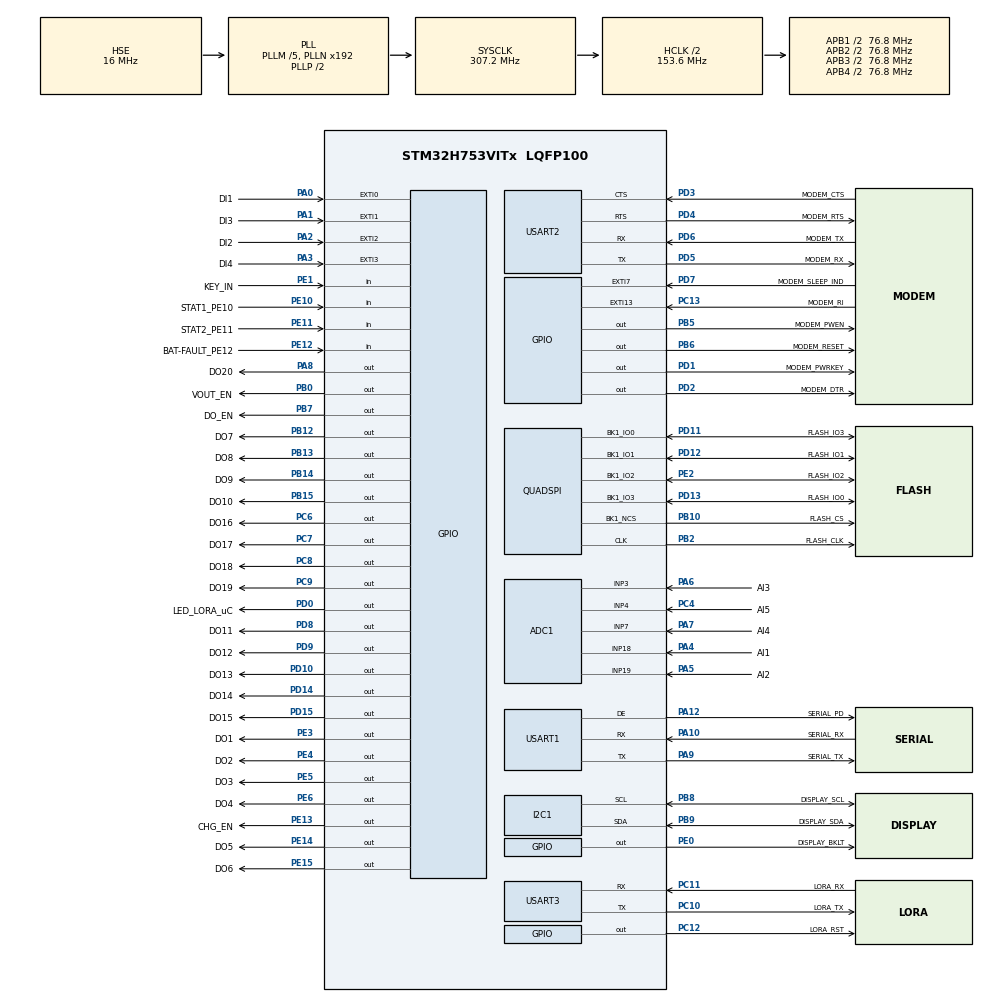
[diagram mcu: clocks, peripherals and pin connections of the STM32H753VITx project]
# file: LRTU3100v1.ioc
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ADC1.Channel-10\#ChannelRegularConversion=ADC_CHANNEL_19
ADC1.Channel-6\#ChannelRegularConversion=ADC_CHANNEL_3
ADC1.Channel-7\#ChannelRegularConversion=ADC_CHANNEL_4
ADC1.Channel-8\#ChannelRegularConversion=ADC_CHANNEL_7
ADC1.Channel-9\#ChannelRegularConversion=ADC_CHANNEL_18
ADC1.DiscontinuousConvMode=ENABLE
ADC1.NbrOfConversion=5
ADC1.NbrOfConversionFlag=1
ADC1.OffsetNumber-10\#ChannelRegularConversion=ADC_OFFSET_NONE
ADC1.OffsetNumber-6\#ChannelRegularConversion=ADC_OFFSET_NONE
ADC1.OffsetNumber-7\#ChannelRegularConversion=ADC_OFFSET_NONE
ADC1.OffsetNumber-8\#ChannelRegularConversion=ADC_OFFSET_NONE
ADC1.OffsetNumber-9\#ChannelRegularConversion=ADC_OFFSET_NONE
ADC1.OffsetSignedSaturation-10\#ChannelRegularConversion=DISABLE
ADC1.OffsetSignedSaturation-6\#ChannelRegularConversion=DISABLE
ADC1.OffsetSignedSaturation-7\#ChannelRegularConversion=DISABLE
ADC1.OffsetSignedSaturation-8\#ChannelRegularConversion=DISABLE
ADC1.OffsetSignedSaturation-9\#ChannelRegularConversion=DISABLE
ADC1.OversamplingMode=ENABLE
ADC1.Rank-10\#ChannelRegularConversion=5
ADC1.Rank-6\#ChannelRegularConversion=1
ADC1.Rank-7\#ChannelRegularConversion=2
ADC1.Rank-8\#ChannelRegularConversion=3
ADC1.Rank-9\#ChannelRegularConversion=4
ADC1.Ratio=ADC3_OVERSAMPLING_RATIO_2
ADC1.RightBitShift=ADC_RIGHTBITSHIFT_8
ADC1.SamplingTime-10\#ChannelRegularConversion=ADC_SAMPLETIME_1CYCLE_5
ADC1.SamplingTime-6\#ChannelRegularConversion=ADC_SAMPLETIME_1CYCLE_5
ADC1.SamplingTime-7\#ChannelRegularConversion=ADC_SAMPLETIME_1CYCLE_5
ADC1.SamplingTime-8\#ChannelRegularConversion=ADC_SAMPLETIME_1CYCLE_5
ADC1.SamplingTime-9\#ChannelRegularConversion=ADC_SAMPLETIME_1CYCLE_5
ADC1.master=1
FREERTOS.Tasks01=defaultTask,0,128,StartDefaultTask,Default,NULL,Dynamic,NULL,NULL
FREERTOS.configUSE_NEWLIB_REENTRANT=1
I2C1.Timing=0x109096E2
Mcu.Family=STM32H7
Mcu.Name=STM32H753VITx
Mcu.Package=LQFP100
NVIC.EXTI0_IRQn=true\:5\:0\:false\:false\:true\:true\:true\:true\:true
NVIC.EXTI15_10_IRQn=true\:5\:0\:false\:false\:true\:true\:true\:true\:true
NVIC.EXTI1_IRQn=true\:5\:0\:false\:false\:true\:true\:true\:true\:true
NVIC.EXTI2_IRQn=true\:5\:0\:false\:false\:true\:true\:true\:true\:true
NVIC.EXTI3_IRQn=true\:5\:0\:false\:false\:true\:true\:true\:true\:true
NVIC.EXTI9_5_IRQn=true\:5\:0\:false\:false\:true\:true\:true\:true\:true
NVIC.PriorityGroup=NVIC_PRIORITYGROUP_4
NVIC.TIM17_IRQn=true\:15\:0\:false\:false\:true\:false\:false\:true\:true
NVIC.TimeBase=TIM17_IRQn
NVIC.TimeBaseIP=TIM17
NVIC.USART1_IRQn=true\:5\:0\:false\:false\:true\:true\:true\:true\:true
NVIC.USART2_IRQn=true\:5\:0\:false\:false\:true\:true\:true\:true\:true
NVIC.USART3_IRQn=true\:5\:0\:false\:false\:true\:true\:true\:true\:true
PA0.GPIO_Label=DI1
PA0.Signal=GPXTI0
PA1.GPIO_Label=DI3
PA1.Signal=GPXTI1
PA10.GPIO_Label=SERIAL_RX
PA10.Mode=Asynchronous
PA10.Signal=USART1_RX
PA12.GPIO_Label=SERIAL_PD
PA12.Mode=Hardware Flow Control (RS485)
PA12.Signal=USART1_DE
PA13\ (JTMS/SWDIO).Mode=JTAG_5_pins
PA13\ (JTMS/SWDIO).Signal=DEBUG_JTMS-SWDIO
PA14\ (JTCK/SWCLK).Mode=JTAG_5_pins
PA14\ (JTCK/SWCLK).Signal=DEBUG_JTCK-SWCLK
PA15\ (JTDI).Mode=JTAG_5_pins
PA15\ (JTDI).Signal=DEBUG_JTDI
PA2.GPIO_Label=DI2
PA2.Signal=GPXTI2
PA3.GPIO_Label=DI4
PA3.Signal=GPXTI3
PA4.GPIO_Label=AI1
PA4.Signal=ADCx_INP18
PA5.GPIO_Label=AI2
PA5.Signal=ADCx_INP19
PA6.GPIO_Label=AI3
PA6.Signal=ADCx_INP3
PA7.GPIO_Label=AI4
PA7.Signal=ADCx_INP7
PA8.GPIO_Label=DO20
PA8.Signal=GPIO_Output
PA9.GPIO_Label=SERIAL_TX
PA9.Mode=Asynchronous
PA9.Signal=USART1_TX
PB0.GPIO_Label=VOUT_EN
PB0.PinState=GPIO_PIN_SET
PB0.Signal=GPIO_Output
PB10.GPIO_Label=FLASH_CS
PB10.Mode=Single Bank 1
PB10.Signal=QUADSPI_BK1_NCS
PB12.GPIO_Label=DO7
PB12.Signal=GPIO_Output
PB13.GPIO_Label=DO8
PB13.Signal=GPIO_Output
PB14.GPIO_Label=DO9
PB14.Signal=GPIO_Output
PB15.GPIO_Label=DO10
PB15.Signal=GPIO_Output
PB2.GPIO_Label=FLASH_CLK
PB2.Mode=Single Bank 1
PB2.Signal=QUADSPI_CLK
PB3\ (JTDO/TRACESWO).Mode=JTAG_5_pins
PB3\ (JTDO/TRACESWO).Signal=DEBUG_JTDO-SWO
PB4\ (NJTRST).Mode=JTAG_5_pins
PB4\ (NJTRST).Signal=DEBUG_JTRST
PB5.GPIO_Label=MODEM_PWEN
PB5.Signal=GPIO_Output
PB6.GPIO_Label=MODEM_RESET
PB6.Signal=GPIO_Output
PB7.GPIO_Label=DO_EN
PB7.Signal=GPIO_Output
PB8.GPIO_Label=DISPLAY_SCL
PB8.Mode=I2C
PB8.Signal=I2C1_SCL
PB9.GPIO_Label=DISPLAY_SDA
PB9.Mode=I2C
PB9.Signal=I2C1_SDA
PC10.GPIO_Label=LORA_TX
PC10.Mode=Asynchronous
PC10.Signal=USART3_TX
PC11.GPIO_Label=LORA_RX
PC11.Mode=Asynchronous
PC11.Signal=USART3_RX
PC12.GPIO_Label=LORA_RST
PC12.Signal=GPIO_Output
PC13.GPIO_Label=MODEM_RI
PC13.Signal=GPXTI13
PC14-OSC32_IN\ (OSC32_IN).Mode=LSE-External-Oscillator
PC14-OSC32_IN\ (OSC32_IN).Signal=RCC_OSC32_IN
PC15-OSC32_OUT\ (OSC32_OUT).Mode=LSE-External-Oscillator
PC15-OSC32_OUT\ (OSC32_OUT).Signal=RCC_OSC32_OUT
PC4.GPIO_Label=AI5
PC4.Signal=ADCx_INP4
PC6.GPIO_Label=DO16
PC6.Signal=GPIO_Output
PC7.GPIO_Label=DO17
PC7.Signal=GPIO_Output
PC8.GPIO_Label=DO18
PC8.Signal=GPIO_Output
PC9.GPIO_Label=DO19
PC9.Signal=GPIO_Output
PD0.GPIO_Label=LED_LORA_uC
PD0.Signal=GPIO_Output
PD1.GPIO_Label=MODEM_PWRKEY
PD1.Signal=GPIO_Output
PD10.GPIO_Label=DO13
PD10.Signal=GPIO_Output
PD11.GPIO_Label=FLASH_IO3
PD11.Mode=Single Bank 1
PD11.Signal=QUADSPI_BK1_IO0
PD12.GPIO_Label=FLASH_IO1
PD12.Mode=Single Bank 1
PD12.Signal=QUADSPI_BK1_IO1
PD13.GPIO_Label=FLASH_IO0
PD13.Mode=Single Bank 1
PD13.Signal=QUADSPI_BK1_IO3
PD14.GPIO_Label=DO14
PD14.Signal=GPIO_Output
PD15.GPIO_Label=DO15
PD15.Signal=GPIO_Output
PD2.GPIO_Label=MODEM_DTR
PD2.Signal=GPIO_Output
PD3.GPIO_Label=MODEM_CTS
PD3.Mode=CTS_RTS
PD3.Signal=USART2_CTS
PD4.GPIO_Label=MODEM_RTS
PD4.Mode=CTS_RTS
PD4.Signal=USART2_RTS
PD5.GPIO_Label=MODEM_RX
PD5.Mode=Asynchronous
PD5.Signal=USART2_TX
PD6.GPIO_Label=MODEM_TX
PD6.Mode=Asynchronous
PD6.Signal=USART2_RX
PD7.GPIO_Label=MODEM_SLEEP_IND
PD7.Signal=GPXTI7
PD8.GPIO_Label=DO11
PD8.Signal=GPIO_Output
PD9.GPIO_Label=DO12
PD9.Signal=GPIO_Output
PE0.GPIO_Label=DISPLAY_BKLT
PE0.Signal=GPIO_Output
PE1.GPIO_Label=KEY_IN
PE1.Signal=GPIO_Input
PE10.GPIO_Label=STAT1_PE10
PE10.Signal=GPIO_Input
PE11.GPIO_Label=STAT2_PE11
PE11.Signal=GPIO_Input
PE12.GPIO_Label=BAT-FAULT_PE12
PE12.Signal=GPIO_Input
PE13.GPIO_Label=CHG_EN
PE13.Signal=GPIO_Output
PE14.GPIO_Label=DO5
PE14.Signal=GPIO_Output
PE15.GPIO_Label=DO6
PE15.Signal=GPIO_Output
PE2.GPIO_Label=FLASH_IO2
PE2.Mode=Single Bank 1
PE2.Signal=QUADSPI_BK1_IO2
PE3.GPIO_Label=DO1
PE3.Signal=GPIO_Output
PE4.GPIO_Label=DO2
PE4.Signal=GPIO_Output
PE5.GPIO_Label=DO3
PE5.Signal=GPIO_Output
PE6.GPIO_Label=DO4
PE6.Signal=GPIO_Output
PH0-OSC_IN\ (PH0).Mode=HSE-External-Oscillator
PH0-OSC_IN\ (PH0).Signal=RCC_OSC_IN
PH1-OSC_OUT\ (PH1).Mode=HSE-External-Oscillator
PH1-OSC_OUT\ (PH1).Signal=RCC_OSC_OUT
ProjectManager.HeapSize=0x200
ProjectManager.StackSize=0x400
ProjectManager.TargetToolchain=STM32CubeIDE
RCC.ADCFreq_Value=38000000
RCC.APB1Freq_Value=76800000
RCC.APB2Freq_Value=76800000
RCC.APB3Freq_Value=76800000
RCC.APB4Freq_Value=76800000
RCC.CortexFreq_Value=307200000
RCC.D1PPRE=RCC_APB3_DIV2
RCC.D2PPRE1=RCC_APB1_DIV2
RCC.D2PPRE2=RCC_APB2_DIV2
RCC.D3PPRE=RCC_APB4_DIV2
RCC.DIVM1=5
RCC.DIVM2=2
RCC.DIVN1=192
RCC.DIVN2=19
RCC.DIVP2=4
RCC.HCLKFreq_Value=153600000
RCC.HPRE=RCC_HCLK_DIV2
RCC.HSE_VALUE=16000000
RCC.PLLFRACN=0
RCC.PLLSourceVirtual=RCC_PLLSOURCE_HSE
RCC.RTCClockSelection=RCC_RTCCLKSOURCE_LSE
RCC.SYSCLKFreq_VALUE=307200000
RCC.SYSCLKSource=RCC_SYSCLKSOURCE_PLLCLK
RCC.USBCLockSelection=RCC_USBCLKSOURCE_HSI48
RCC.USBFreq_Value=48000000
RTC.Alarm-Alarm\ A=RTC_ALARM_A
SH.ADCx_INP18.0=ADC1_INP18,IN18-Single-Ended
SH.ADCx_INP19.0=ADC1_INP19,IN19-Single-Ended
SH.ADCx_INP3.0=ADC1_INP3,IN3-Single-Ended
SH.ADCx_INP4.0=ADC1_INP4,IN4-Single-Ended
SH.ADCx_INP7.0=ADC1_INP7,IN7-Single-Ended
USART1.VirtualMode-Asynchronous=VM_ASYNC
USART1.VirtualMode-Hardware\ Flow\ Control\ (RS485)=VM_ASYNC
USART2.VirtualMode-Asynchronous=VM_ASYNC
USART3.VirtualMode-Asynchronous=VM_ASYNC
VP_CRC_VS_CRC.Mode=CRC_Activate
VP_FREERTOS_VS_CMSIS_V1.Mode=CMSIS_V1
VP_RTC_VS_RTC_Activate.Mode=RTC_Enabled
VP_RTC_VS_RTC_Alarm_A_Intern.Mode=Alarm A
VP_RTC_VS_RTC_Calendar.Mode=RTC_Calendar
VP_SYS_VS_tim17.Mode=TIM17
VREF+.Mode=InternalMode
VREF+.Signal=VREFBUF_OUT
VREFBUF.VoltageScaling=SYSCFG_VREFBUF_VOLTAGE_SCALE1
board=custom

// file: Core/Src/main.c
/* USER CODE BEGIN Header */
/**
  ******************************************************************************
  * @file           : main.c
  * @brief          : Main program body
  ******************************************************************************
  * @attention
  *
  * Copyright (c) 2025 STMicroelectronics.
  * All rights reserved.
  *
  * This software is licensed under terms that can be found in the LICENSE file
  * in the root directory of this software component.
  * If no LICENSE file comes with this software, it is provided AS-IS.
  *
  ******************************************************************************
  */
/* USER CODE END Header */
#include "main.h"
#include "cmsis_os.h"

/* USER CODE BEGIN Includes */
/* Includes ------------------------------------------------------------------*/
#include "main.h"
#include "cmsis_os.h"
#include <stdio.h>
#include "Lora_AT_Types.h"
#include <string.h>

/* USER CODE END Includes */

ADC_HandleTypeDef hadc1;

CRC_HandleTypeDef hcrc;

I2C_HandleTypeDef hi2c1;

QSPI_HandleTypeDef hqspi;

RTC_HandleTypeDef hrtc;

UART_HandleTypeDef huart1;
UART_HandleTypeDef huart2;
UART_HandleTypeDef huart3;

osThreadId defaultTaskHandle;
/* USER CODE BEGIN PV */
CRC_HandleTypeDef hcrc;

uint32_t lastToggleTime = 0;
uint8_t  outputState = 0; // 0 = OFF period, 1 = ON period

unsigned char Volatile_1_Non_VOL_0 = 0;
uint8_t Id_Reg_Arry[3] = {0};
uint8_t reg1 = 0,reg2 = 0, reg3 = 0;
HAL_StatusTypeDef SPI_Status;
unsigned char Tx_Buffer = 'A',Tx_Buffer1;
osSemaphoreId sendExternalFlashSemaphore;

//****RTC****//
uint8_t rtctime[20], rtcdate[20];

//****LORA****//
uint8_t Lora_RX_Buff[525];        	//LoRA buffer to fill from Rx interrupt
lwrb_t lora_rx_rb;  				//LoRA Ring buffer instance for RX data
uint8_t lora_rx_rb_data[1000];		//LoRA Ring buffer data array for RX DMA

uint32_t stm32deviceID[3],STM32_CRC32;
uint8_t stm8deviceID[12];
char flag_day_night_reboot;
/* USER CODE END PV */

void SystemClock_Config(void);
static void MPU_Config(void);
static void CPU_CACHE_Enable(void);
static void MX_GPIO_Init(void);
void MX_ADC1_Init(void);
void MX_RTC_Init(void);
void MX_USART1_UART_Init(void);
void MX_USART2_UART_Init(void);
void MX_I2C1_Init(void);
void MX_USART3_UART_Init(void);
static void MX_QUADSPI_Init(void);
static void MX_CRC_Init(void);
void StartDefaultTask(void const * argument);
void GPIO_Unused_Define_Low(void);

/* USER CODE BEGIN PFP */
cJSON_Hooks rtos_mem_fn = { pvPortMalloc, vPortFree };
/* USER CODE END PFP */

/* USER CODE BEGIN 0 */
unsigned int erase_push_counter=0,PushPressTime = 0,Fascia_Pin_status = 2;
/* USER CODE END 0 */

/**
  * @brief  CPU L1-Cache enable.
  * @param  None
  * @retval None
  */
static void CPU_CACHE_Enable(void)
{
  /* Enable I-Cache */
  SCB_EnableICache();

  /* Enable D-Cache */
  SCB_EnableDCache();
}

int main(void)
{

	/* MCU Configuration--------------------------------------------------------*/
	MPU_Config();

	CPU_CACHE_Enable();
	__enable_irq();
	/* Reset of all peripherals, Initializes the Flash interface and the Systick. */
	HAL_Init();

	/* Configure the system clock */
	SystemClock_Config();

	/* Initialize all configured peripherals */
	MX_GPIO_Init();
	GPIO_Unused_Define_Low();

	MX_ADC1_Init();
	MX_RTC_Init();

	MX_USART1_UART_Init();
	MX_USART2_UART_Init();
	MX_USART3_UART_Init();

	MX_I2C1_Init();
	MX_QUADSPI_Init();
	MX_CRC_Init();

	/* USER CODE BEGIN 2 */
	// *********RTC***********//
	// set_time(t1);
	WriteLog(1, "\r\n........................START CODE EXCUTION.........................\r\n",1);
	strcpy((char *)EPROM_General.Rtu_Detail.Hex_Version,DEFAULT_FV_VERSION);
	snprintf((char *)print, sizeof(print),"Hex_Version: %s\r\n",EPROM_General.Rtu_Detail.Hex_Version);
	WriteLog(1, (char*)print, 1);

	if(HAL_RTCEx_BKUPRead(&hrtc, RTC_BKP_DR1) != 0x32F2)
		set_time(t1);
	else
		get_time(t1);

	print_time();
	//**************************//
	HAL_GPIO_WritePin(DISPLAY_BKLT_GPIO_Port,DISPLAY_BKLT_Pin, GPIO_PIN_SET);//lcd

	#ifdef WATCH_DOG_ENABLE //MAU_EXCEPTION
	HAL_IWDG_Refresh(&hiwdg1);
	#endif

	lwrb_init(&EC200U_RX_rb, EC200U_RX_rb_data, sizeof(EC200U_RX_rb_data));
	lwrb_init(&lora_rx_rb, lora_rx_rb_data, sizeof(lora_rx_rb_data));

	cJSON_InitHooks(&rtos_mem_fn);
	MX25L_Init();
	/* USER CODE END 2 */

	/* USER CODE BEGIN RTOS_MUTEX */
	/* add mutexes, ... */
	/* add semaphores, ... */
	stm32deviceID[0]=HAL_GetUIDw0();
	stm32deviceID[1]=HAL_GetUIDw1();
	stm32deviceID[2]=HAL_GetUIDw2();

	stm8deviceID[0] = (stm32deviceID[0]) & 0xff;
	stm8deviceID[1] = (stm32deviceID[0] >> 8) & 0xff;
	stm8deviceID[2] = (stm32deviceID[0] >> 16) & 0xff;
	stm8deviceID[3] = (stm32deviceID[0] >> 24);

	stm8deviceID[4] = stm32deviceID[1] & 0xff;
	stm8deviceID[5] = (stm32deviceID[1] >> 8) & 0xff;
	stm8deviceID[6] = (stm32deviceID[1] >> 16) & 0xff;
	stm8deviceID[7] = (stm32deviceID[1] >> 24);

	stm8deviceID[8] = stm32deviceID[2] & 0xff;
	stm8deviceID[9] = (stm32deviceID[2] >> 8) & 0xff;
	stm8deviceID[10] = (stm32deviceID[3] >> 16) & 0xff;
	stm8deviceID[11] = (stm32deviceID[4] >> 24);

	STM32_CRC32 = HAL_CRC_Calculate(&hcrc, (uint32_t *)stm8deviceID,12);

	/* USER CODE END RTOS_MUTEX */

	/* USER CODE BEGIN RTOS_QUEUES */
	/* add queues, ... */
	ExtFlash_Read_RuntimePara(0);
	ExtFlash_Read_EPROM_General(0);
	ExtFlash_Read_EPROM_AI_Calibration(0);
	ExtFlash_Read_EPROM_Schedule(0);
	ExtFlash_Read_EPROM_Dync(0);
	ExtFlash_Read_EPROM_Modbus_Quary_Detail(0);
	ExtFlash_Read_EPROM_PCBPLC_GENERAL_REG(0);
	ExtFlash_Read_gPlcRecFlash(0);
	ExtFlash_Read_EPROM_Frequent(0);
	MODEM_GPIO_Define();

	for(unsigned char index=0;index<15;index++)
	{
		Dual_DO_Pulse_Stage[index] = 0;
		Dual_DO_actual_PulseWidth[index] = 500;
	}

	syncExtFlashVariableWithPCBPLCVariable();
	ExtFlash_Read_OTA_Data();

	erase_push_counter = 0;
	Fascia_Pin_status = HAL_GPIO_ReadPin(KEY_IN_GPIO_Port, KEY_IN_Pin);
	if(HAL_GPIO_ReadPin(KEY_IN_GPIO_Port, KEY_IN_Pin)==GPIO_PIN_RESET)
	{
		HAL_GPIO_WritePin(DISPLAY_BKLT_GPIO_Port, DISPLAY_BKLT_Pin, RESET);
		HAL_GPIO_WritePin(LED_LORA_uC_GPIO_Port, LED_LORA_uC_Pin, GPIO_PIN_RESET);
		while((HAL_GPIO_ReadPin(KEY_IN_GPIO_Port, KEY_IN_Pin)==GPIO_PIN_RESET)&&(erase_push_counter<500))
		{
			HAL_Delay(10);
			erase_push_counter++;
		}

		if(erase_push_counter >= 500)
		{

			HAL_GPIO_WritePin(DISPLAY_BKLT_GPIO_Port, DISPLAY_BKLT_Pin, SET);
			HAL_GPIO_WritePin(LED_LORA_uC_GPIO_Port, LED_LORA_uC_Pin, GPIO_PIN_SET);
			erase_push_counter = 0 ;
			HAL_Delay(1000);
			if(HAL_GPIO_ReadPin(KEY_IN_GPIO_Port, KEY_IN_Pin)==GPIO_PIN_SET)
			{
				while(erase_push_counter<500)
				{
					if(HAL_GPIO_ReadPin(KEY_IN_GPIO_Port, KEY_IN_Pin)==GPIO_PIN_RESET)
					{

						HAL_GPIO_WritePin(DISPLAY_BKLT_GPIO_Port, DISPLAY_BKLT_Pin, RESET);
						HAL_GPIO_WritePin(LED_LORA_uC_GPIO_Port, LED_LORA_uC_Pin, GPIO_PIN_RESET);					  erase_push_counter = erase_push_counter+20;
						PushPressTime++;
						HAL_Delay(200);

						HAL_GPIO_WritePin(DISPLAY_BKLT_GPIO_Port, DISPLAY_BKLT_Pin, SET);
						HAL_GPIO_WritePin(LED_LORA_uC_GPIO_Port, LED_LORA_uC_Pin, GPIO_PIN_SET);
					}
					erase_push_counter++;
					HAL_Delay(10);
				}
				if(PushPressTime == 2)
				{
					PushPressTime = 0;
					HAL_GPIO_WritePin(DISPLAY_BKLT_GPIO_Port, DISPLAY_BKLT_Pin, RESET);
					HAL_GPIO_WritePin(LED_LORA_uC_GPIO_Port, LED_LORA_uC_Pin, GPIO_PIN_RESET);
					HAL_Delay(500);
					ExtFlash_Read_RuntimePara(1);

					HAL_GPIO_WritePin(DISPLAY_BKLT_GPIO_Port, DISPLAY_BKLT_Pin, SET);
					HAL_GPIO_WritePin(LED_LORA_uC_GPIO_Port, LED_LORA_uC_Pin, GPIO_PIN_SET);
					HAL_Delay(500);
					ExtFlash_Read_EPROM_General(1);
					ExtFlash_Read_EPROM_AI_Calibration(1);

					HAL_GPIO_WritePin(DISPLAY_BKLT_GPIO_Port, DISPLAY_BKLT_Pin, RESET);
					HAL_GPIO_WritePin(LED_LORA_uC_GPIO_Port, LED_LORA_uC_Pin, GPIO_PIN_RESET);
					HAL_Delay(500);
					ExtFlash_Read_EPROM_Schedule(1);

					HAL_GPIO_WritePin(DISPLAY_BKLT_GPIO_Port, DISPLAY_BKLT_Pin, SET);
					HAL_GPIO_WritePin(LED_LORA_uC_GPIO_Port, LED_LORA_uC_Pin, GPIO_PIN_SET);
					HAL_Delay(500);
					ExtFlash_Read_EPROM_Modbus_Quary_Detail(1);

					HAL_GPIO_WritePin(DISPLAY_BKLT_GPIO_Port, DISPLAY_BKLT_Pin, RESET);
					HAL_GPIO_WritePin(LED_LORA_uC_GPIO_Port, LED_LORA_uC_Pin, GPIO_PIN_RESET);
					HAL_Delay(500);
					ExtFlash_Read_EPROM_PCBPLC_GENERAL_REG(1);
					ExtFlash_Read_EPROM_Frequent(1);
					HAL_GPIO_WritePin(DISPLAY_BKLT_GPIO_Port, DISPLAY_BKLT_Pin, SET);
					HAL_GPIO_WritePin(LED_LORA_uC_GPIO_Port, LED_LORA_uC_Pin, GPIO_PIN_SET);
					HAL_Delay(500);
					ExtFlash_Read_gPlcRecFlash(1);

					HAL_GPIO_WritePin(DISPLAY_BKLT_GPIO_Port, DISPLAY_BKLT_Pin, RESET);
					HAL_GPIO_WritePin(LED_LORA_uC_GPIO_Port, LED_LORA_uC_Pin, GPIO_PIN_RESET);
					HAL_Delay(500);
					MX25L_EraseSector_QPI(EPROM_REC_MODIFIED_START_ADDRESS);

					HAL_GPIO_WritePin(DISPLAY_BKLT_GPIO_Port, DISPLAY_BKLT_Pin, SET);
					HAL_GPIO_WritePin(LED_LORA_uC_GPIO_Port, LED_LORA_uC_Pin, GPIO_PIN_SET);
					HAL_Delay(500);
					HAL_GPIO_WritePin(DISPLAY_BKLT_GPIO_Port, DISPLAY_BKLT_Pin, RESET);
					HAL_GPIO_WritePin(LED_LORA_uC_GPIO_Port, LED_LORA_uC_Pin, GPIO_PIN_RESET);
					syncExtFlashVariableWithPCBPLCVariable();
				}
			}
		}
		HAL_GPIO_WritePin(DISPLAY_BKLT_GPIO_Port, DISPLAY_BKLT_Pin, RESET);
		HAL_GPIO_WritePin(LED_LORA_uC_GPIO_Port, LED_LORA_uC_Pin, GPIO_PIN_RESET);
	}

	checkProductionMode();

	if(Pro_Application_flag)
	{
	  EPROM_General.pro_CheckByte = 0xAA;
	  ExtFlash_update_EPROM_General();
	  EPROM_General.pro_CheckByte = 0;
	  ExtFlash_Read_EPROM_General(0);
	  if(EPROM_General.pro_CheckByte == 0xAA)
	  {
		  pro_Flash_State = 1;
	  }
	  else
	  {
		  pro_Flash_State = 0;
	  }

	  ExtFlash_update_EPROM_Dync();
	}

	lcd_initialize();
	HAL_Delay(10);
	lcd_set_cursor(1,0);
	lcd_display_string("CIMCON SOFTWARE ");
	lcd_set_cursor(2,0);
	lcd_display_string("    LRTU3100    ");

	BuildModbusMasterQueryTelegrams();

	WriteLog(1, (char *)print, 1);
	//****** Get Astro Time ******//
	Get_Astro_time();

	// Initialize state
	HAL_GPIO_WritePin(VOUT_EN_GPIO_Port, VOUT_EN_Pin, GPIO_PIN_RESET);
	lastToggleTime = HAL_GetTick(); // record start time
  /* USER CODE END RTOS_QUEUES */

  /* Create the thread(s) */
  /* definition and creation of defaultTask */
  osThreadDef(defaultTask, StartDefaultTask, osPriorityNormal, 0, 512*10);
  defaultTaskHandle = osThreadCreate(osThread(defaultTask), NULL);

  /* USER CODE BEGIN RTOS_THREADS */
  /* add threads, ... */
  EC200U_start();
  RxRingProcess_start();
  Modem_MQTT_start();
  Lora_start();
  DIDO_start();
  COM_PORT_RS232_1_start();
  /* USER CODE END RTOS_THREADS */

  /* Start scheduler */
  osKernelStart();

  /* We should never get here as control is now taken by the scheduler */

  /* Infinite loop */
  while (1)
  {

  }
}

/* MPU Configuration */
void MPU_Config(void)
{
  MPU_Region_InitTypeDef MPU_InitStruct = {0};

  /* Disables the MPU */
  HAL_MPU_Disable();

  /** Initializes and configures the Region and the memory to be protected
  */
  MPU_InitStruct.Enable = MPU_REGION_ENABLE;
  MPU_InitStruct.Number = MPU_REGION_NUMBER0;
  MPU_InitStruct.BaseAddress = 0x0;
  MPU_InitStruct.Size = MPU_REGION_SIZE_4GB;
  MPU_InitStruct.SubRegionDisable = 0x87;
  MPU_InitStruct.TypeExtField = MPU_TEX_LEVEL0;
  MPU_InitStruct.AccessPermission = MPU_REGION_NO_ACCESS;
  MPU_InitStruct.DisableExec = MPU_INSTRUCTION_ACCESS_DISABLE;
  MPU_InitStruct.IsShareable = MPU_ACCESS_SHAREABLE;
  MPU_InitStruct.IsCacheable = MPU_ACCESS_NOT_CACHEABLE;
  MPU_InitStruct.IsBufferable = MPU_ACCESS_NOT_BUFFERABLE;

  HAL_MPU_ConfigRegion(&MPU_InitStruct);

  /** Initializes and configures the Region and the memory to be protected
  */
  MPU_InitStruct.Number = MPU_REGION_NUMBER1;
  MPU_InitStruct.BaseAddress = 0x30020000;
  MPU_InitStruct.Size = MPU_REGION_SIZE_128KB;
  MPU_InitStruct.SubRegionDisable = 0x0;
  MPU_InitStruct.TypeExtField = MPU_TEX_LEVEL1;
  MPU_InitStruct.AccessPermission = MPU_REGION_FULL_ACCESS;
  MPU_InitStruct.IsShareable = MPU_ACCESS_NOT_SHAREABLE;

  HAL_MPU_ConfigRegion(&MPU_InitStruct);
  MPU_InitStruct.Number = MPU_REGION_NUMBER2;
  MPU_InitStruct.BaseAddress = 0x30040000;
  MPU_InitStruct.Size = MPU_REGION_SIZE_1KB;//MPU_REGION_SIZE_512B;
  MPU_InitStruct.TypeExtField = MPU_TEX_LEVEL0;
  MPU_InitStruct.IsShareable = MPU_ACCESS_SHAREABLE;
  MPU_InitStruct.IsBufferable = MPU_ACCESS_BUFFERABLE;

  HAL_MPU_ConfigRegion(&MPU_InitStruct);
  /* Enables the MPU */
  HAL_MPU_Enable(MPU_PRIVILEGED_DEFAULT);
}

void SystemClock_Config(void)
{
  RCC_OscInitTypeDef RCC_OscInitStruct = {0};
  RCC_ClkInitTypeDef RCC_ClkInitStruct = {0};

  /** Supply configuration update enable
  */
  HAL_PWREx_ConfigSupply(PWR_LDO_SUPPLY);

  /** Configure the main internal regulator output voltage
  */
  __HAL_PWR_VOLTAGESCALING_CONFIG(PWR_REGULATOR_VOLTAGE_SCALE1);

  while(!__HAL_PWR_GET_FLAG(PWR_FLAG_VOSRDY)) {}

  /** Configure LSE Drive Capability
  */
  HAL_PWR_EnableBkUpAccess();
  __HAL_RCC_LSEDRIVE_CONFIG(RCC_LSEDRIVE_LOW);

  /** Initializes the RCC Oscillators according to the specified parameters
  * in the RCC_OscInitTypeDef structure.
  */
  RCC_OscInitStruct.OscillatorType = RCC_OSCILLATORTYPE_HSE|RCC_OSCILLATORTYPE_LSE;
  RCC_OscInitStruct.HSEState = RCC_HSE_ON;
  RCC_OscInitStruct.LSEState = RCC_LSE_ON;
  RCC_OscInitStruct.PLL.PLLState = RCC_PLL_ON;
  RCC_OscInitStruct.PLL.PLLSource = RCC_PLLSOURCE_HSE;
  RCC_OscInitStruct.PLL.PLLM = 5;
  RCC_OscInitStruct.PLL.PLLN = 192;
  RCC_OscInitStruct.PLL.PLLP = 2;
  RCC_OscInitStruct.PLL.PLLQ = 2;
  RCC_OscInitStruct.PLL.PLLR = 2;
  RCC_OscInitStruct.PLL.PLLRGE = RCC_PLL1VCIRANGE_1;
  RCC_OscInitStruct.PLL.PLLVCOSEL = RCC_PLL1VCOWIDE;
  RCC_OscInitStruct.PLL.PLLFRACN = 0;
  if (HAL_RCC_OscConfig(&RCC_OscInitStruct) != HAL_OK)
  {
    Error_Handler();
  }

  /** Initializes the CPU, AHB and APB buses clocks
  */
  RCC_ClkInitStruct.ClockType = RCC_CLOCKTYPE_HCLK|RCC_CLOCKTYPE_SYSCLK
                              |RCC_CLOCKTYPE_PCLK1|RCC_CLOCKTYPE_PCLK2
                              |RCC_CLOCKTYPE_D3PCLK1|RCC_CLOCKTYPE_D1PCLK1;
  RCC_ClkInitStruct.SYSCLKSource = RCC_SYSCLKSOURCE_PLLCLK;
  RCC_ClkInitStruct.SYSCLKDivider = RCC_SYSCLK_DIV1;
  RCC_ClkInitStruct.AHBCLKDivider = RCC_HCLK_DIV2;
  RCC_ClkInitStruct.APB3CLKDivider = RCC_APB3_DIV2;
  RCC_ClkInitStruct.APB1CLKDivider = RCC_APB1_DIV2;
  RCC_ClkInitStruct.APB2CLKDivider = RCC_APB2_DIV2;
  RCC_ClkInitStruct.APB4CLKDivider = RCC_APB4_DIV2;

  if (HAL_RCC_ClockConfig(&RCC_ClkInitStruct, FLASH_LATENCY_2) != HAL_OK)
  {
    Error_Handler();
  }
}

static void MX_CRC_Init(void)
{

  hcrc.Instance = CRC;
  hcrc.Init.DefaultPolynomialUse = DEFAULT_POLYNOMIAL_ENABLE;
  hcrc.Init.DefaultInitValueUse = DEFAULT_INIT_VALUE_ENABLE;
  hcrc.Init.InputDataInversionMode = CRC_INPUTDATA_INVERSION_NONE;
  hcrc.Init.OutputDataInversionMode = CRC_OUTPUTDATA_INVERSION_DISABLE;
  hcrc.InputDataFormat = CRC_INPUTDATA_FORMAT_BYTES;
  if (HAL_CRC_Init(&hcrc) != HAL_OK)
  {
    Error_Handler();
  }

}

void MX_I2C1_Init(void)
{

  hi2c1.Instance = I2C1;
  hi2c1.Init.Timing = 0x00C0EAFF;
  hi2c1.Init.OwnAddress1 = 0;
  hi2c1.Init.AddressingMode = I2C_ADDRESSINGMODE_7BIT;
  hi2c1.Init.DualAddressMode = I2C_DUALADDRESS_DISABLE;
  hi2c1.Init.OwnAddress2 = 0;
  hi2c1.Init.OwnAddress2Masks = I2C_OA2_NOMASK;
  hi2c1.Init.GeneralCallMode = I2C_GENERALCALL_DISABLE;
  hi2c1.Init.NoStretchMode = I2C_NOSTRETCH_DISABLE;
  if (HAL_I2C_Init(&hi2c1) != HAL_OK)
  {
    Error_Handler();
  }

  /** Configure Analogue filter
  */
  if (HAL_I2CEx_ConfigAnalogFilter(&hi2c1, I2C_ANALOGFILTER_ENABLE) != HAL_OK)
  {
    Error_Handler();
  }

  /** Configure Digital filter
  */
  if (HAL_I2CEx_ConfigDigitalFilter(&hi2c1, 0) != HAL_OK)
  {
    Error_Handler();
  }

}

static void MX_QUADSPI_Init(void)
{

  /* QUADSPI parameter configuration*/
  hqspi.Instance = QUADSPI;
  hqspi.Init.ClockPrescaler = 74;
  hqspi.Init.FifoThreshold = 1;
  hqspi.Init.SampleShifting = QSPI_SAMPLE_SHIFTING_HALFCYCLE;
  hqspi.Init.FlashSize = 25;
  hqspi.Init.ChipSelectHighTime = QSPI_CS_HIGH_TIME_2_CYCLE;
  hqspi.Init.ClockMode = QSPI_CLOCK_MODE_3;
  hqspi.Init.FlashID = QSPI_FLASH_ID_1;
  hqspi.Init.DualFlash = QSPI_DUALFLASH_DISABLE;
  if (HAL_QSPI_Init(&hqspi) != HAL_OK)
  {
    Error_Handler();
  }

}

static void MX_GPIO_Init(void)
{
  GPIO_InitTypeDef GPIO_InitStruct = {0};

  /* GPIO Ports Clock Enable */
  __HAL_RCC_GPIOE_CLK_ENABLE();
  __HAL_RCC_GPIOC_CLK_ENABLE();
  __HAL_RCC_GPIOH_CLK_ENABLE();
  __HAL_RCC_GPIOA_CLK_ENABLE();
  __HAL_RCC_GPIOB_CLK_ENABLE();
  __HAL_RCC_GPIOD_CLK_ENABLE();

  /*Configure GPIO pin Output Level */
  HAL_GPIO_WritePin(GPIOE, DO1_Pin|DO2_Pin|DO3_Pin|DO4_Pin
                          |CHG_EN_Pin|DO5_Pin|DO6_Pin|DISPLAY_BKLT_Pin, GPIO_PIN_RESET);

  /*Configure GPIO pin Output Level */
  HAL_GPIO_WritePin(VOUT_EN_GPIO_Port, VOUT_EN_Pin, GPIO_PIN_SET);

  /*Configure GPIO pin Output Level */
  HAL_GPIO_WritePin(GPIOB, DO7_Pin|DO8_Pin|DO9_Pin|DO10_Pin|DO_EN_Pin, GPIO_PIN_RESET);

  /*Configure GPIO pin Output Level */
  HAL_GPIO_WritePin(GPIOD, DO11_Pin|DO12_Pin|DO13_Pin|DO14_Pin
                          |DO15_Pin|LED_LORA_uC_Pin, GPIO_PIN_RESET);

  /*Configure GPIO pin Output Level */
  HAL_GPIO_WritePin(GPIOC, DO16_Pin|DO17_Pin|DO18_Pin|DO19_Pin
                          |LORA_RST_Pin, GPIO_PIN_RESET);

  /*Configure GPIO pin Output Level */
  HAL_GPIO_WritePin(DO20_GPIO_Port, DO20_Pin, GPIO_PIN_RESET);
//  HAL_GPIO_WritePin(GPIOB, DO_EN_Pin, GPIO_PIN_SET);

  HAL_GPIO_WritePin(LORA_RST_GPIO_Port, LORA_RST_Pin, GPIO_PIN_SET);
  /*Configure GPIO pins : DO1_Pin DO2_Pin DO3_Pin DO4_Pin
                           CHG_EN_Pin DO5_Pin DO6_Pin DISPLAY_BKLT_Pin */
  GPIO_InitStruct.Pin = DO1_Pin|DO2_Pin|DO3_Pin|DO4_Pin
                          |CHG_EN_Pin|DO5_Pin|DO6_Pin|DISPLAY_BKLT_Pin;
  GPIO_InitStruct.Mode = GPIO_MODE_OUTPUT_PP;
  GPIO_InitStruct.Pull = GPIO_NOPULL;
  GPIO_InitStruct.Speed = GPIO_SPEED_FREQ_LOW;
  HAL_GPIO_Init(GPIOE, &GPIO_InitStruct);

  /*Configure GPIO pins : DI1_Pin DI3_Pin DI2_Pin DI4_Pin */
  GPIO_InitStruct.Pin = DI1_Pin|DI3_Pin|DI2_Pin|DI4_Pin;
  GPIO_InitStruct.Mode = GPIO_MODE_IT_RISING;
  GPIO_InitStruct.Pull = GPIO_NOPULL;
  HAL_GPIO_Init(GPIOA, &GPIO_InitStruct);

  /*Configure GPIO pins : VOUT_EN_Pin DO7_Pin DO8_Pin DO9_Pin
                           DO10_Pin MODEM_PWEN_Pin MODEM_RESET_Pin DO_EN_Pin */
  GPIO_InitStruct.Pin = VOUT_EN_Pin|DO7_Pin|DO8_Pin|DO9_Pin
                          |DO10_Pin|DO_EN_Pin;
  GPIO_InitStruct.Mode = GPIO_MODE_OUTPUT_PP;
  GPIO_InitStruct.Pull = GPIO_NOPULL;
  GPIO_InitStruct.Speed = GPIO_SPEED_FREQ_LOW;
  HAL_GPIO_Init(GPIOB, &GPIO_InitStruct);

  /*Configure GPIO pins : STAT1_PE10_Pin STAT2_PE11_Pin BAT_FAULT_PE12_Pin KEY_IN_Pin */
  GPIO_InitStruct.Pin = STAT1_PE10_Pin|STAT2_PE11_Pin|BAT_FAULT_PE12_Pin|KEY_IN_Pin;
  GPIO_InitStruct.Mode = GPIO_MODE_INPUT;
  GPIO_InitStruct.Pull = GPIO_NOPULL;
  HAL_GPIO_Init(GPIOE, &GPIO_InitStruct);

  /*Configure GPIO pins : DO11_Pin DO12_Pin DO13_Pin DO14_Pin
                           DO15_Pin LED_LORA_uC_Pin MODEM_PWRKEY_Pin MODEM_DTR_Pin */
  GPIO_InitStruct.Pin = DO11_Pin|DO12_Pin|DO13_Pin|DO14_Pin
                          |DO15_Pin|LED_LORA_uC_Pin;
  GPIO_InitStruct.Mode = GPIO_MODE_OUTPUT_PP;
  GPIO_InitStruct.Pull = GPIO_NOPULL;
  GPIO_InitStruct.Speed = GPIO_SPEED_FREQ_LOW;
  HAL_GPIO_Init(GPIOD, &GPIO_InitStruct);

  /*Configure GPIO pins : DO16_Pin DO17_Pin DO18_Pin DO19_Pin
                           LORA_RST_Pin */
  GPIO_InitStruct.Pin = DO16_Pin|DO17_Pin|DO18_Pin|DO19_Pin
                          |LORA_RST_Pin;
  GPIO_InitStruct.Mode = GPIO_MODE_OUTPUT_PP;
  GPIO_InitStruct.Pull = GPIO_NOPULL;
  GPIO_InitStruct.Speed = GPIO_SPEED_FREQ_LOW;
  HAL_GPIO_Init(GPIOC, &GPIO_InitStruct);

  /*Configure GPIO pin : DO20_Pin */
  GPIO_InitStruct.Pin = DO20_Pin;
  GPIO_InitStruct.Mode = GPIO_MODE_OUTPUT_PP;
  GPIO_InitStruct.Pull = GPIO_NOPULL;
  GPIO_InitStruct.Speed = GPIO_SPEED_FREQ_LOW;
  HAL_GPIO_Init(DO20_GPIO_Port, &GPIO_InitStruct);

  /* EXTI interrupt init*/
  HAL_NVIC_SetPriority(EXTI0_IRQn, 5, 0);
  HAL_NVIC_EnableIRQ(EXTI0_IRQn);

  HAL_NVIC_SetPriority(EXTI1_IRQn, 5, 0);
  HAL_NVIC_EnableIRQ(EXTI1_IRQn);

  HAL_NVIC_SetPriority(EXTI2_IRQn, 5, 0);
  HAL_NVIC_EnableIRQ(EXTI2_IRQn);

  HAL_NVIC_SetPriority(EXTI3_IRQn, 5, 0);
  HAL_NVIC_EnableIRQ(EXTI3_IRQn);

}

/* USER CODE BEGIN 4 */

  /**************************************************************************//**
  * Function name 	: GPIO_Unused_Define_Low
  * arguments		: 1)
  * return 		 	: no return type
  * Note				: # Set the GPIO pins as input mode or analog mode

  *****************************************************************************/
  void GPIO_Unused_Define_Low(void)
  {
  	GPIO_InitTypeDef GPIO_InitStruct = {0};
  	GPIO_InitStruct.Pin = GPIO_PIN_11;
  	GPIO_InitStruct.Mode = GPIO_MODE_ANALOG;
  	GPIO_InitStruct.Pull = GPIO_NOPULL;
  	GPIO_InitStruct.Speed = GPIO_SPEED_FREQ_LOW;
  	HAL_GPIO_Init(GPIOA, &GPIO_InitStruct);

  	GPIO_InitStruct.Pin = GPIO_PIN_1|GPIO_PIN_11;
  	GPIO_InitStruct.Mode = GPIO_MODE_ANALOG;
  	GPIO_InitStruct.Pull = GPIO_NOPULL;
  	GPIO_InitStruct.Speed = GPIO_SPEED_FREQ_LOW;
  	HAL_GPIO_Init(GPIOB, &GPIO_InitStruct);

  	GPIO_InitStruct.Pin = GPIO_PIN_0|GPIO_PIN_1|GPIO_PIN_2|GPIO_PIN_3|GPIO_PIN_5;
  	GPIO_InitStruct.Mode = GPIO_MODE_ANALOG;
  	GPIO_InitStruct.Pull = GPIO_NOPULL;
  	GPIO_InitStruct.Speed = GPIO_SPEED_FREQ_LOW;
  	HAL_GPIO_Init(GPIOC, &GPIO_InitStruct);

  	GPIO_InitStruct.Pin = GPIO_PIN_7|GPIO_PIN_8|GPIO_PIN_9|GPIO_PIN_13;
  	GPIO_InitStruct.Mode = GPIO_MODE_ANALOG;
  	GPIO_InitStruct.Pull = GPIO_NOPULL;
  	GPIO_InitStruct.Speed = GPIO_SPEED_FREQ_LOW;
  	HAL_GPIO_Init(GPIOE, &GPIO_InitStruct);
  }
  void MODEM_GPIO_Define()
  {
	  GPIO_InitTypeDef GPIO_InitStruct = {0};
	/* USER CODE BEGIN MX_GPIO_Init_1 */
	/* USER CODE END MX_GPIO_Init_1 */
	if(EPROM_General.Modem_EC200_presence)
	{
		  /* If modem present turn ON 4V */
		  HAL_GPIO_WritePin(MODEM_PWEN_GPIO_Port, MODEM_PWEN_Pin|MODEM_RESET_Pin, GPIO_PIN_SET);

		  /*Configure GPIO pin Output Level */
		  HAL_GPIO_WritePin(GPIOD, MODEM_PWRKEY_Pin|MODEM_DTR_Pin, GPIO_PIN_RESET);

		  /*Configure GPIO pins : MODEM_PWEN_Pin MODEM_RESET_Pin */
		  GPIO_InitStruct.Pin = MODEM_PWEN_Pin|MODEM_RESET_Pin;
		  GPIO_InitStruct.Mode = GPIO_MODE_OUTPUT_PP;
		  GPIO_InitStruct.Pull = GPIO_NOPULL;
		  GPIO_InitStruct.Speed = GPIO_SPEED_FREQ_LOW;
		  HAL_GPIO_Init(GPIOB, &GPIO_InitStruct);

		  /*Configure GPIO pin : MODEM_RI_Pin */
		  GPIO_InitStruct.Pin = MODEM_RI_Pin;
		  GPIO_InitStruct.Mode = GPIO_MODE_IT_RISING;
		  GPIO_InitStruct.Pull = GPIO_NOPULL;
		  HAL_GPIO_Init(MODEM_RI_GPIO_Port, &GPIO_InitStruct);

		  /*Configure GPIO pins : DO11_Pin DO12_Pin DO13_Pin DO14_Pin
		                           DO15_Pin LED_LORA_uC_Pin MODEM_PWRKEY_Pin MODEM_DTR_Pin */
		  GPIO_InitStruct.Pin = MODEM_PWRKEY_Pin|MODEM_DTR_Pin;
		  GPIO_InitStruct.Mode = GPIO_MODE_OUTPUT_PP;
		  GPIO_InitStruct.Pull = GPIO_NOPULL;
		  GPIO_InitStruct.Speed = GPIO_SPEED_FREQ_LOW;
		  HAL_GPIO_Init(GPIOD, &GPIO_InitStruct);

		  /*Configure GPIO pin : MODEM_SLEEP_IND_Pin */
		  GPIO_InitStruct.Pin = MODEM_SLEEP_IND_Pin;
		  GPIO_InitStruct.Mode = GPIO_MODE_IT_RISING;
		  GPIO_InitStruct.Pull = GPIO_NOPULL;
		  HAL_GPIO_Init(MODEM_SLEEP_IND_GPIO_Port, &GPIO_InitStruct);

		  HAL_NVIC_SetPriority(EXTI9_5_IRQn, 5, 0);
		  HAL_NVIC_EnableIRQ(EXTI9_5_IRQn);

		  HAL_NVIC_SetPriority(EXTI15_10_IRQn, 5, 0);
		  HAL_NVIC_EnableIRQ(EXTI15_10_IRQn);
	}
	else
	{
		/*Configure GPIO pins : VOUT_EN_Pin DO7_Pin DO8_Pin DO9_Pin
				                           DO10_Pin MODEM_PWEN_Pin MODEM_RESET_Pin DO_EN_Pin */
		  GPIO_InitStruct.Pin = MODEM_PWEN_Pin|MODEM_RESET_Pin;
		  GPIO_InitStruct.Mode = GPIO_MODE_ANALOG;
		  GPIO_InitStruct.Pull = GPIO_NOPULL;
		  GPIO_InitStruct.Speed = GPIO_SPEED_FREQ_LOW;
		  HAL_GPIO_Init(MODEM_PWEN_GPIO_Port, &GPIO_InitStruct);

		  /*Configure GPIO pin : MODEM_RI_Pin */
		  GPIO_InitStruct.Pin = MODEM_RI_Pin;
		  GPIO_InitStruct.Mode = GPIO_MODE_ANALOG;
		  GPIO_InitStruct.Pull = GPIO_NOPULL;
		  HAL_GPIO_Init(MODEM_RI_GPIO_Port, &GPIO_InitStruct);

		  /*Configure GPIO pins : DO11_Pin DO12_Pin DO13_Pin DO14_Pin
								   DO15_Pin LED_LORA_uC_Pin MODEM_PWRKEY_Pin MODEM_DTR_Pin */
		  GPIO_InitStruct.Pin = MODEM_PWRKEY_Pin|MODEM_DTR_Pin;
		  GPIO_InitStruct.Mode = GPIO_MODE_ANALOG;
		  GPIO_InitStruct.Pull = GPIO_NOPULL;
		  GPIO_InitStruct.Speed = GPIO_SPEED_FREQ_LOW;
		  HAL_GPIO_Init(GPIOD, &GPIO_InitStruct);

		  /*Configure GPIO pin : MODEM_SLEEP_IND_Pin */
		  GPIO_InitStruct.Pin = MODEM_SLEEP_IND_Pin;
		  GPIO_InitStruct.Mode = GPIO_MODE_ANALOG;
		  GPIO_InitStruct.Pull = GPIO_NOPULL;
		  HAL_GPIO_Init(MODEM_SLEEP_IND_GPIO_Port, &GPIO_InitStruct);

		  HAL_NVIC_DisableIRQ(EXTI9_5_IRQn);
		  HAL_NVIC_DisableIRQ(EXTI15_10_IRQn);
	}
  }
void reboot_device_func(void)
{
	flag_flashSaveRecipe = 1;
	flag_flashUpdateEPROM_General = 1;
	flag_flashUpdateEPROM_AI_Calibration = 1;
	flag_flashUpdateEPROM_Schedule = 1;
	flag_flashUpdateEPROM_Modbus_Quary_Detail = 1;

	flag_flashSaveRecipe_WaitCounter=1;
	flag_flashUpdateEPROM_General_WaitCounter=1;
	flag_flashUpdateEPROM_AI_Calibration_WaitCounter=1;
	flag_flashUpdateEPROM_Schedule_WaitCounter=1;
	flag_flashUpdateEPROM_Modbus_Quary_Detail_WaitCounter=1;
	flag_flashUpdateEPROM_PCBPLC_GENERAL_REG_WaitCounter=299;
	osDelay(6000);
	HAL_NVIC_SystemReset();
}
/* USER CODE END 4 */

void StartDefaultTask(void const * argument)
{
  /* USER CODE BEGIN 5 */
	sendExternalFlashSemaphore= xSemaphoreCreateBinary();
	xSemaphoreGive(sendExternalFlashSemaphore);
	Backlight_Init();

  /* Infinite loop */
  for(;;)
  {
	  if(Pro_Application_flag == 0)
	  {
		  service_start();
		  service_stop();
	  }
	  osDelay(30000);
  }

  /* USER CODE END 5 */
}

void HAL_TIM_PeriodElapsedCallback(TIM_HandleTypeDef *htim)
{
  if (htim->Instance == TIM17) {
    HAL_IncTick();
	DI1_waveLength++;//++;
	DI2_waveLength++;//++;
	//DI_Frequency_Counter+=2;//++;
	if(++DI_Frequency_Counter>EPROM_Frequent.Pulse_DI_frequency_time)  //3000
	{
		DI1_Freq = DI1_Pulse_Count_for_Frequency;///5.0;//((DI1_Pulse_Count-preDI1_Pulse_Count)/3.0);
		DI2_Freq = DI2_Pulse_Count_for_Frequency;///5.0;//((DI2_Pulse_Count-preDI2_Pulse_Count)/3.0);

		DI1_Pulse_Count_for_Frequency=0;
		DI2_Pulse_Count_for_Frequency=0;

		DI_Frequency_Counter=0;
	}
  }
}

void Error_Handler(void)
{
  __disable_irq();
  while (1)
  {
  }
}

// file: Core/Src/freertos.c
/* USER CODE BEGIN Header */
/**
  ******************************************************************************
  * File Name          : freertos.c
  * Description        : Code for freertos applications
  ******************************************************************************
  * @attention
  *
  * Copyright (c) 2025 STMicroelectronics.
  * All rights reserved.
  *
  * This software is licensed under terms that can be found in the LICENSE file
  * in the root directory of this software component.
  * If no LICENSE file comes with this software, it is provided AS-IS.
  *
  ******************************************************************************
  */
/* USER CODE END Header */

#include "FreeRTOS.h"
#include "task.h"
#include "main.h"

/* GetIdleTaskMemory prototype (linked to static allocation support) */
void vApplicationGetIdleTaskMemory( StaticTask_t **ppxIdleTaskTCBBuffer, StackType_t **ppxIdleTaskStackBuffer, uint32_t *pulIdleTaskStackSize );

/* USER CODE BEGIN GET_IDLE_TASK_MEMORY */
static StaticTask_t xIdleTaskTCBBuffer;
static StackType_t xIdleStack[configMINIMAL_STACK_SIZE];

void vApplicationGetIdleTaskMemory( StaticTask_t **ppxIdleTaskTCBBuffer, StackType_t **ppxIdleTaskStackBuffer, uint32_t *pulIdleTaskStackSize )
{
  *ppxIdleTaskTCBBuffer = &xIdleTaskTCBBuffer;
  *ppxIdleTaskStackBuffer = &xIdleStack[0];
  *pulIdleTaskStackSize = configMINIMAL_STACK_SIZE;
  /* place for user code */
}
/* USER CODE END GET_IDLE_TASK_MEMORY */

void vApplicationGetTimerTaskMemory (StaticTask_t **ppxTimerTaskTCBBuffer, StackType_t **ppxTimerTaskStackBuffer, uint32_t *pulTimerTaskStackSize);

/*
  vApplicationGetTimerTaskMemory gets called when configSUPPORT_STATIC_ALLOCATION
  equals to 1 and is required for static memory allocation support.
*/
void vApplicationGetTimerTaskMemory (StaticTask_t **ppxTimerTaskTCBBuffer, StackType_t **ppxTimerTaskStackBuffer, uint32_t *pulTimerTaskStackSize) {
  /* Timer task control block and stack */
  static StaticTask_t Timer_TCB;
  static StackType_t  Timer_Stack[configTIMER_TASK_STACK_DEPTH];

  *ppxTimerTaskTCBBuffer   = &Timer_TCB;
  *ppxTimerTaskStackBuffer = &Timer_Stack[0];
  *pulTimerTaskStackSize   = (uint32_t)configTIMER_TASK_STACK_DEPTH;
}

/* Hook prototypes */
void vApplicationStackOverflowHook(xTaskHandle xTask, signed char *pcTaskName);

/* USER CODE BEGIN 4 */
void vApplicationStackOverflowHook(xTaskHandle xTask, signed char *pcTaskName)
{
   /* ETH_CODE: add breakpoint when stack oveflow is detected by FreeRTOS.
    * Useful for debugging issues.
    */
   __BKPT(0);
}
